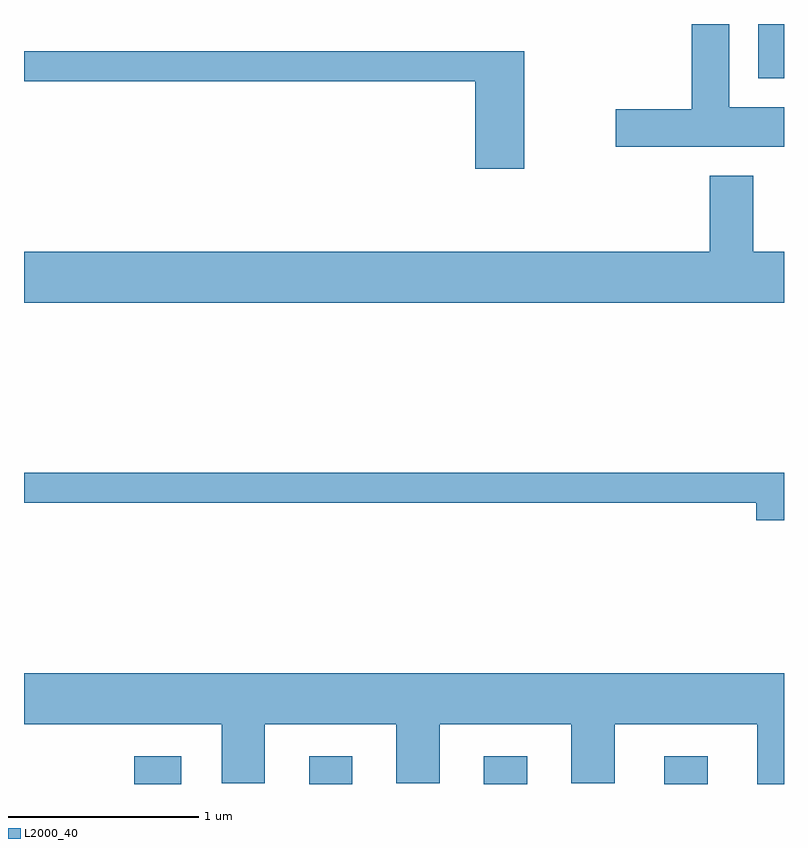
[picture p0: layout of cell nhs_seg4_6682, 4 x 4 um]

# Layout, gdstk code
import gdstk
lib = gdstk.Library(unit=1e-6, precision=1e-09)
def R(c, l, rs):  # rectangles x0, y0, x1, y1
    for r in rs: c.add(gdstk.rectangle(r[:2], r[2:], *l))
def P(c, l, *ps):  # polygons
    for p in ps: c.add(gdstk.Polygon(p, *l))
L2000_40 = (2000, 40)

nhs_seg4_6682 = lib.new_cell('nhs_seg4_6682')
R(nhs_seg4_6682, L2000_40, [(382.191,1289.982,382.439,1290.129), (383.111,1289.982,383.339,1290.129), (384.031,1289.982,384.259,1290.129), (384.981,1289.982,385.209,1290.129), (385.476,1293.696,385.611,1293.982)])
P(nhs_seg4_6682, L2000_40, [(385.611,1293.544),(385.324,1293.544),(385.324,1293.982),(385.126,1293.982),(385.126,1293.534),(384.726,1293.534),(384.726,1293.336),(385.611,1293.336)],
  [(384.244,1293.839),(381.611,1293.839),(381.611,1293.681),(383.986,1293.681),(383.986,1293.221),(384.244,1293.221)],
  [(385.611,1292.784),(385.449,1292.784),(385.449,1293.184),(385.221,1293.184),(385.221,1292.784),(381.611,1292.784),(381.611,1292.516),(385.611,1292.516)],
  [(385.611,1291.619),(381.611,1291.619),(381.611,1291.461),(385.466,1291.461),(385.466,1291.371),(385.611,1291.371)],
  [(385.611,1290.564),(381.611,1290.564),(381.611,1290.296),(382.651,1290.296),(382.651,1289.986),(382.879,1289.986),(382.879,1290.296),(383.571,1290.296),(383.571,1289.986),(383.799,1289.986),(383.799,1290.296),(384.491,1290.296),(384.491,1289.986),(384.719,1289.986),(384.719,1290.296),(385.471,1290.296),(385.471,1289.982),(385.611,1289.982)])

lib.write_gds('nhs_seg4_6682.gds')
